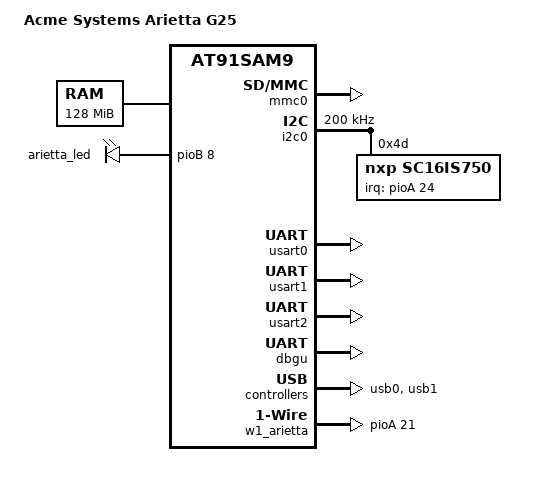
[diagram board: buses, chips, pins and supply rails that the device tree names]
/*
 * see https://groups.google.com/forum/#!topic/acmesystems/a1LhbApXBPc 
 * 
 */
/*
 * acme-arietta.dts - Device Tree file for Acme Systems Arietta G25
 * Copyright (C) 2014 Sergio Tanzilli <ser...@tanzilli.com>
 * dpg 20131120
 *
 * Licensed under GPLv2 or later.
 */
/dts-v1/;
#include "at91sam9g25.dtsi"

/ {
        model = "Acme Systems Arietta G25";
        compatible = "acme,arietta", "atmel,at91sam9x5ek",
                "atmel,at91sam9x5", "atmel,at91sam9";

        aliases {
                serial0 = &dbgu;
/* switching next two serial assigments switches /dev/ttyS1 and ttyS2 */
                serial2 = &usart0;
                serial1 = &usart1;
                serial3 = &usart2;
        };

        chosen {
                bootargs = "console=ttyS0,115200n8 root=/dev/mmcblk0p2 rw rootwait";
        };

        memory {
                /* 128 MB Arietta G25 version */
                reg = <0x20000000 0x8000000>;
                /* 256 MB Arietta G25 version */
                /* reg = <0x20000000 0x10000000>; */
        };


        clocks {
                #address-cells = <1>;
                #size-cells = <1>;
                ranges;

                main_clock: clock@0 {
                        compatible = "atmel,osc", "fixed-clock";
                        clock-frequency = <12000000>;
                };

                slow_xtal {
                        clock-frequency = <32768>;
                };

                main_xtal {
                        clock-frequency = <12000000>;
                };

                sc16is7xx_ck: sc16is7xx_ck {
                        compatible = "fixed-clock";
                        #clock-cells = <0>;
                        clock-frequency = <14745600>;
                };

        };

        ahb {
                apb {
                        mmc0: mmc@f0008000 {
                                pinctrl-0 = <
                                  &pinctrl_mmc0_slot0_clk_cmd_dat0
                                  &pinctrl_mmc0_slot0_dat1_3>;
                                status = "okay";
                                slot@0 {
                                  reg = <0>;
                                  bus-width = <4>;
                                };
                        };

                        pinctrl@fffff400 {
                                pwm0 {
                                        pinctrl_pwm0: pwm0-0 {
                                        atmel,pins =
                                                <AT91_PIOB 11 AT91_PERIPH_B AT91_PINCTRL_NONE
                                                 AT91_PIOB 12 AT91_PERIPH_B AT91_PINCTRL_NONE
                                                 AT91_PIOB 13 AT91_PERIPH_B AT91_PINCTRL_NONE
                                                 AT91_PIOB 14 AT91_PERIPH_B AT91_PINCTRL_NONE>;
                                        };
                                };
                        };

                        pwm0: pwm@f8034000 {
                                status = "disabled";
                                pinctrl-names = "default";
                                pinctrl-0 = <&pinctrl_pwm0>;
                        };

                        i2c0: i2c@f8010000 {
                                status = "okay";
                                clock-frequency = <200000>;

                                sc16is750: sc16is750@51 {
                                        compatible = "nxp,sc16is750";
                                        reg = <0x4d>;
                                        /* clocks = <&twi0_clk>; */
                                        clocks = <&sc16is7xx_ck>;
                                        interrupts-extended = <&pioA 24 IRQ_TYPE_EDGE_FALLING>;
                                        /* gpio-controller; */
                                        /* #gpio-cells = <2>; */
                                };
                        };

                        i2c1: i2c@f8014000 {
                                status = "disabled";
                        };

                        /* /dev/ttyS1 */
                        usart0: serial@f801c000 {
                                status = "okay";
                                pinctrl-0 = <&pinctrl_usart0>;
                        };

                        /* /dev/ttyS2 */
                        usart1: serial@f8020000 {
                                status = "okay";
                                pinctrl-0 = <&pinctrl_usart1
                                        &pinctrl_usart1_rts
                                          &pinctrl_usart1_cts>;
                        };

                        /* /dev/ttyS3 */
                        usart2: serial@f8024000 {
                                status = "okay";
                                pinctrl-0 = <&pinctrl_usart2>;
                        };

                        spi1: spi@f0004000 {
                                status = "disabled";
                                cs-gpios = <&pioA 8 0>, <&pioA 0 0>, <&pioA 31 0>, <&pioA 30 0>;
                                device@0 {
                                        compatible = "spidev";
                                        spi-max-frequency = <5000000>;            // 5 MHz
                                        reg = <0>;
                                };
                                device@1 {
                                        compatible = "spidev";
                                        spi-max-frequency = <5000000>;            // 5 MHz
                                        reg = <1>;
                                };
                                device@2 {
                                        compatible = "spidev";
                                        spi-max-frequency = <5000000>;            // 5 MHz
                                        reg = <2>;
                                };
                                device@3 {
                                        compatible = "spidev";
                                        spi-max-frequency = <5000000>;            // 5 MHz
                                        reg = <3>;
                                };
                        };

                        usb2: gadget@f803c000 {
                                /* if gadget not status="okay" then USBA is host */
                                /* status = "okay"; */
                        };

                        adc0: adc@f804c000 {
                                status = "disabled";
                                atmel,adc-channels-used = <0xf>;
                                atmel,adc-num-channels = <4>;
                        };

                        dbgu: serial@fffff200 {
                                status = "okay";
                        };

                        pinctrl@fffff400 {
                                w1_0 {
                                        pinctrl_w1_0: w1_0-0 {
                                                atmel,pins = <AT91_PIOA 21 AT91_PERIPH_GPIO AT91_PINCTRL_PULL_UP>;
                                        };
                                };
                        };

                        rtc@fffffeb0 {
                                status = "okay";
                        };

                        /* The watchdog is live when the SoC boots and can
                         * only be configured once! If the bootstrap has
                         * disabled it then it is unavailable. If still
                         * live when the kernel starts then you must choose
                         * status="okay" and then decide whether to use it
                         * on not. Uncomment 'atmel,disable;' as well to
                         * disable it. The default time is 15 seconds. */
                        watchdog@fffffe40 {
                                /* atmel,disable; */
                                /* timeout-sec = <14>; */
                                status = "okay";
                        };

                        shdwc@fffffe10 {
                                /* should only be changed to "okay" if VDDBU
                                 * is powered during shutdown, otherwise an
                                 * immediate reboot will occur. */
                                status = "disabled";
                        };
                };

                usb0: ohci@00600000 {
                        status = "okay";
                        num-ports = <3>;
                };

                usb1: ehci@00700000 {
                        status = "okay";
                };
        };

        leds {
                compatible = "gpio-leds";

                arietta_led {
                        label = "arietta_led";
                        gpios = <&pioB 8 GPIO_ACTIVE_HIGH>; /* PB8 */
                        linux,default-trigger = "heartbeat";
                };

        };
        w1_arietta {
                compatible = "w1-gpio";
                gpios = <&pioA 21 GPIO_ACTIVE_HIGH>;
                /* linux,open-drain; */
                pinctrl-names = "default";
                pinctrl-0 = <&pinctrl_w1_0>;
                status = "okay";
        };
}; 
